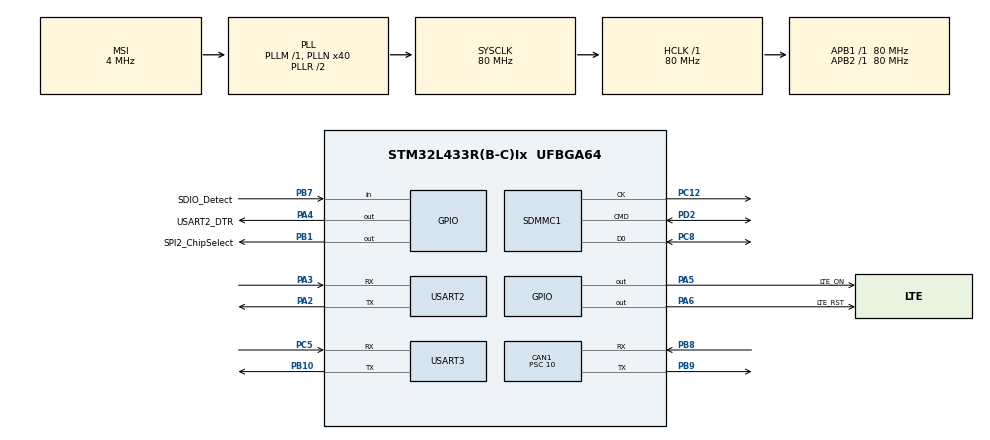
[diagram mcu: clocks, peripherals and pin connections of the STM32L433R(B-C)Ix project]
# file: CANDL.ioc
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CAN1.BS1=CAN_BS1_13TQ
CAN1.BS2=CAN_BS2_2TQ
CAN1.CalculateTimeQuantum=125.0
CAN1.Prescaler=10
FATFS.BSP.number=1
FATFS._USE_MUTEX=1
FATFS0.BSP.STBoard=false
FATFS0.BSP.api=Unknown
FATFS0.BSP.i2caddr=0
FATFS0.BSP.instance=PB7
FATFS0.BSP.ip=GPIO
FATFS0.BSP.mode=Input
FATFS0.BSP.name=Detect_SDIO
FATFS0.BSP.solution=PB7
FREERTOS.Tasks01=init,0,128,StartInit,Default,NULL,Dynamic,NULL,NULL;dataCollect,-3,128,StartDataCollection,Default,NULL,Dynamic,NULL,NULL;internetService,-3,128,StartInternetServices,Default,NULL,Dynamic,NULL,NULL
Mcu.Family=STM32L4
Mcu.Name=STM32L433R(B-C)Ix
Mcu.Package=UFBGA64
NVIC.CAN1_RX0_IRQn=true\:0\:0\:false\:false\:true\:false\:true\:true
NVIC.CAN1_RX1_IRQn=true\:0\:0\:false\:false\:true\:false\:true\:true
NVIC.CAN1_SCE_IRQn=true\:0\:0\:false\:false\:true\:false\:true\:true
NVIC.CAN1_TX_IRQn=true\:0\:0\:false\:false\:true\:false\:true\:true
NVIC.PriorityGroup=NVIC_PRIORITYGROUP_4
NVIC.TIM1_UP_TIM16_IRQn=true\:0\:0\:false\:false\:true\:false\:false\:true
NVIC.TimeBase=TIM1_UP_TIM16_IRQn
NVIC.TimeBaseIP=TIM1
NVIC.USART2_IRQn=true\:0\:0\:false\:false\:true\:false\:true\:true
NVIC.USART3_IRQn=true\:0\:0\:false\:false\:true\:false\:true\:true
PA13\ (JTMS-SWDIO).Mode=JTAG_5_pins
PA13\ (JTMS-SWDIO).Signal=SYS_JTMS-SWDIO
PA14\ (JTCK-SWCLK).Mode=JTAG_5_pins
PA14\ (JTCK-SWCLK).Signal=SYS_JTCK-SWCLK
PA15\ (JTDI).Mode=JTAG_5_pins
PA15\ (JTDI).Signal=SYS_JTDI
PA2.Mode=Asynchronous
PA2.Signal=USART2_TX
PA3.Mode=Asynchronous
PA3.Signal=USART2_RX
PA4.GPIO_Label=USART2_DTR
PA4.Signal=GPIO_Output
PA5.GPIO_Label=LTE_ON
PA5.GPIO_PuPd=GPIO_PULLDOWN
PA5.Signal=GPIO_Output
PA6.GPIO_Label=LTE_RST
PA6.GPIO_PuPd=GPIO_PULLUP
PA6.Signal=GPIO_Output
PB1.GPIO_Label=SPI2_ChipSelect
PB1.Signal=GPIO_Output
PB10.Mode=Asynchronous
PB10.Signal=USART3_TX
PB3\ (JTDO-TRACESWO).Mode=JTAG_5_pins
PB3\ (JTDO-TRACESWO).Signal=SYS_JTDO-SWO
PB4\ (NJTRST).Mode=JTAG_5_pins
PB4\ (NJTRST).Signal=SYS_JTRST
PB7.GPIO_Label=SDIO_Detect
PB7.GPIO_PuPd=GPIO_PULLUP
PB7.Signal=GPIO_Input
PB8.Mode=Master
PB8.Signal=CAN1_RX
PB9.Mode=Master
PB9.Signal=CAN1_TX
PC12.Mode=SD_1_bit
PC12.Signal=SDMMC1_CK
PC5.Mode=Asynchronous
PC5.Signal=USART3_RX
PC8.Mode=SD_1_bit
PC8.Signal=SDMMC1_D0
PD2.Mode=SD_1_bit
PD2.Signal=SDMMC1_CMD
ProjectManager.HeapSize=0x200
ProjectManager.StackSize=0x400
ProjectManager.TargetToolchain=MDK-ARM V5.27
RCC.ADCFreq_Value=48000000
RCC.AHBFreq_Value=80000000
RCC.APB1Freq_Value=80000000
RCC.APB1TimFreq_Value=80000000
RCC.APB2Freq_Value=80000000
RCC.APB2TimFreq_Value=80000000
RCC.CortexFreq_Value=80000000
RCC.HCLKFreq_Value=80000000
RCC.HSE_VALUE=8000000
RCC.HSI48_VALUE=48000000
RCC.HSI_VALUE=16000000
RCC.LSE_VALUE=32768
RCC.MSI_VALUE=4000000
RCC.PLLN=40
RCC.PLLSAI1N=24
RCC.SYSCLKFreq_VALUE=80000000
RCC.SYSCLKSource=RCC_SYSCLKSOURCE_PLLCLK
RCC.USBFreq_Value=48000000
RCC.VCOOutputFreq_Value=160000000
USART2.VirtualMode-Asynchronous=VM_ASYNC
USART3.VirtualMode-Asynchronous=VM_ASYNC
VP_FATFS_VS_SDIO.Mode=SDIO
VP_FREERTOS_VS_CMSIS_V1.Mode=CMSIS_V1
VP_RTC_VS_RTC_Activate.Mode=RTC_Enabled
VP_RTC_VS_RTC_Calendar.Mode=RTC_Calendar
VP_SYS_VS_tim1.Mode=TIM1
board=custom

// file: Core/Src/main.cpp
/* USER CODE BEGIN Header */
/**
  ******************************************************************************
  * @file           : main.c
  * @brief          : Main program body
  ******************************************************************************
  * @attention
  *
  * <h2><center>&copy; Copyright (c) 2020 STMicroelectronics.
  * All rights reserved.</center></h2>
  *
  * This software component is licensed by ST under Ultimate Liberty license
  * SLA0044, the "License"; You may not use this file except in compliance with
  * the License. You may obtain a copy of the License at:
  *                             www.st.com/SLA0044
  *
  ******************************************************************************
  */
/* USER CODE END Header */
#include "main.h"
#include "cmsis_os.h"
#include "fatfs.h"

/* USER CODE BEGIN Includes */
#include "dataCollect.h"
#include "internetConnect.h"
/* USER CODE END Includes */

CAN_HandleTypeDef hcan1;

RTC_HandleTypeDef hrtc;

SD_HandleTypeDef hsd1;

UART_HandleTypeDef huart2;
UART_HandleTypeDef huart3;

osThreadId initHandle;
osThreadId dataCollectHandle;
osThreadId internetServiceHandle;

/* USER CODE BEGIN PV */
FATFS SDFatFs; // File system object for SD card logical drive
FIL MyFile; // File object
//CAN_TxHeaderTypeDef pHeader; //declare a specific header for message transmittions
//CAN_RxHeaderTypeDef pRxHeader; //declare header for message reception
//uint32_t TxMailbox;
//uint8_t a,r; //declare byte to be transmitted //declare a receive byte
//CAN_FilterTypeDef sFilterConfig; //declare CAN filter structure
/* USER CODE END PV */

void SystemClock_Config(void);
static void MX_GPIO_Init(void);
static void MX_CAN1_Init(void);
static void MX_SDMMC1_SD_Init(void);
static void MX_USART2_UART_Init(void);
static void MX_RTC_Init(void);
static void MX_USART3_UART_Init(void);
void StartInit(void const * argument);
void StartDataCollection(void const * argument);
void StartInternetServices(void const * argument);

int main(void)
{
  /* USER CODE BEGIN 1 */
 FRESULT res; // FatFs function common result code
 uint32_t byteswritten, bytesread; // File write/read counts
 char rtext[256]; // File read buffer
  /* USER CODE END 1 */

  /* MCU Configuration--------------------------------------------------------*/

  /* Reset of all peripherals, Initializes the Flash interface and the Systick. */
  HAL_Init();

  /* Configure the system clock */
  SystemClock_Config();

  /* Initialize all configured peripherals */
  MX_GPIO_Init();
  MX_CAN1_Init();
  MX_SDMMC1_SD_Init();
  MX_FATFS_Init();
  MX_USART2_UART_Init();
  MX_RTC_Init();
  MX_USART3_UART_Init();
  /* USER CODE BEGIN 2 */
//	pHeader.DLC=1; //give message size of 1 byte
//	pHeader.IDE=CAN_ID_STD; //set identifier to standard
//	pHeader.RTR=CAN_RTR_DATA; //set data type to remote transmission request?
//	pHeader.StdId=0x244; //define a standard identifier, used for message identification by filters
//
//	//filter one (stack light blink)
//	sFilterConfig.FilterFIFOAssignment=CAN_FILTER_FIFO0; //set fifo assignment
//	sFilterConfig.FilterIdHigh=0; //the ID that the filter looks for
//	sFilterConfig.FilterIdLow=0;
//	sFilterConfig.FilterMaskIdHigh=0;
//	sFilterConfig.FilterMaskIdLow=0;
//	sFilterConfig.FilterScale=CAN_FILTERSCALE_32BIT; //set filter scale
//	sFilterConfig.FilterActivation=ENABLE;
//
//	HAL_CAN_ConfigFilter(&hcan1, &sFilterConfig); //configure CAN filter

//
//	HAL_CAN_Start(&hcan1); //start CAN
//	HAL_CAN_ActivateNotification(&hcan1, CAN_IT_RX_FIFO0_MSG_PENDING); //enable interrupts

 	//if(f_mount(&SDFatFs, (TCHAR const*)SD_Path, 0) != FR_OK){
	//	while(1);
 	//}
	//else {
	//// Create a FAT file system (format) on the logical drive
 	//// WARNING: Formatting the uSD card will delete all content on the device
	//	if(f_mkfs((TCHAR const*)SD_Path, 0, 0) != FR_OK){
	// while(1);
 	//}
	//else {
	//// Create & Open a new text file object with write access
 	//if(f_open(&MyFile, "CANDL.txt", FA_CREATE_ALWAYS | FA_WRITE) != FR_OK){
 	///* 'CANDL.txt' file Open for write Error : set the red LED on */
 	//HAL_GPIO_WritePin(GPIOG, GPIO_PIN_10, GPIO_PIN_RESET);
 	//while(1);
 	//}
	//else {
 	//// Write data to the text file
 	//res = f_write(&MyFile, wtext, sizeof(wtext), (void*)&byteswritten);
 	//if((byteswritten == 0) || (res != FR_OK)){
 	//// 'CANDL.txt' file Write or EOF Error : set the red LED on
 	//HAL_GPIO_WritePin(GPIOG, GPIO_PIN_10, GPIO_PIN_RESET);
 	//while(1);
 	//}
	//else {
 	//// Successful open/write : set the blue LED on
 	//HAL_GPIO_WritePin(GPIOG, GPIO_PIN_12, GPIO_PIN_RESET);
	//f_close(&MyFile);
 	//// Open the text file object with read access
 	//if(f_open(&MyFile, "CANDL.txt", FA_READ) != FR_OK){
 	//// 'CANDL.txt' file Open for read Error : set the red LED on
 	//HAL_GPIO_WritePin(GPIOG, GPIO_PIN_10, GPIO_PIN_RESET);
 	//while(1);
 	//}
	//else {
 	//// Read data from the text file
 	//res = f_read(&MyFile, rtext, sizeof(wtext), &bytesread);
	//	if((strcmp(rtext,wtext)!=0)|| (res != FR_OK)){
 	//// 'CANDL.txt' file Read or EOF Error : set the red LED on
 	//HAL_GPIO_WritePin(GPIOG, GPIO_PIN_10, GPIO_PIN_RESET);
 	//while(1);
 	//}
	//else {
 	//// Successful read : set the green LED On
 	//HAL_GPIO_WritePin(GPIOG, GPIO_PIN_6, GPIO_PIN_RESET);
 	//// Close the open text file
 	//f_close(&MyFile);
	//
	//	}
	//}
	//}
	//}
	//}
	//}
//}
 	// Unlink the micro SD disk I/O driver
 	//FATFS_UnLinkDriver(SD_Path);
  /* USER CODE END 2 */

  /* Create the thread(s) */
  /* definition and creation of init */
  osThreadDef(init, StartInit, osPriorityNormal, 0, 128);
  initHandle = osThreadCreate(osThread(init), NULL);

  /* definition and creation of dataCollect */
  osThreadDef(dataCollect, StartDataCollection, osPriorityIdle, 0, 128);
  dataCollectHandle = osThreadCreate(osThread(dataCollect), NULL);

  /* definition and creation of internetService */
  osThreadDef(internetService, StartInternetServices, osPriorityIdle, 0, 128);
  internetServiceHandle = osThreadCreate(osThread(internetService), NULL);

  /* Start scheduler */
  osKernelStart();

  /* We should never get here as control is now taken by the scheduler */
  /* Infinite loop */
  while (1)
  {

  }
}

void SystemClock_Config(void)
{
  RCC_OscInitTypeDef RCC_OscInitStruct = {0};
  RCC_ClkInitTypeDef RCC_ClkInitStruct = {0};
  RCC_PeriphCLKInitTypeDef PeriphClkInit = {0};

  /** Initializes the RCC Oscillators according to the specified parameters
  * in the RCC_OscInitTypeDef structure.
  */
  RCC_OscInitStruct.OscillatorType = RCC_OSCILLATORTYPE_LSI|RCC_OSCILLATORTYPE_MSI;
  RCC_OscInitStruct.LSIState = RCC_LSI_ON;
  RCC_OscInitStruct.MSIState = RCC_MSI_ON;
  RCC_OscInitStruct.MSICalibrationValue = 0;
  RCC_OscInitStruct.MSIClockRange = RCC_MSIRANGE_6;
  RCC_OscInitStruct.PLL.PLLState = RCC_PLL_ON;
  RCC_OscInitStruct.PLL.PLLSource = RCC_PLLSOURCE_MSI;
  RCC_OscInitStruct.PLL.PLLM = 1;
  RCC_OscInitStruct.PLL.PLLN = 40;
  RCC_OscInitStruct.PLL.PLLP = RCC_PLLP_DIV7;
  RCC_OscInitStruct.PLL.PLLQ = RCC_PLLQ_DIV2;
  RCC_OscInitStruct.PLL.PLLR = RCC_PLLR_DIV2;
  if (HAL_RCC_OscConfig(&RCC_OscInitStruct) != HAL_OK)
  {
    Error_Handler();
  }
  /** Initializes the CPU, AHB and APB buses clocks
  */
  RCC_ClkInitStruct.ClockType = RCC_CLOCKTYPE_HCLK|RCC_CLOCKTYPE_SYSCLK
                              |RCC_CLOCKTYPE_PCLK1|RCC_CLOCKTYPE_PCLK2;
  RCC_ClkInitStruct.SYSCLKSource = RCC_SYSCLKSOURCE_PLLCLK;
  RCC_ClkInitStruct.AHBCLKDivider = RCC_SYSCLK_DIV1;
  RCC_ClkInitStruct.APB1CLKDivider = RCC_HCLK_DIV1;
  RCC_ClkInitStruct.APB2CLKDivider = RCC_HCLK_DIV1;

  if (HAL_RCC_ClockConfig(&RCC_ClkInitStruct, FLASH_LATENCY_4) != HAL_OK)
  {
    Error_Handler();
  }
  PeriphClkInit.PeriphClockSelection = RCC_PERIPHCLK_RTC|RCC_PERIPHCLK_USART2
                              |RCC_PERIPHCLK_USART3|RCC_PERIPHCLK_SDMMC1;
  PeriphClkInit.Usart2ClockSelection = RCC_USART2CLKSOURCE_PCLK1;
  PeriphClkInit.Usart3ClockSelection = RCC_USART3CLKSOURCE_PCLK1;
  PeriphClkInit.RTCClockSelection = RCC_RTCCLKSOURCE_LSI;
  PeriphClkInit.Sdmmc1ClockSelection = RCC_SDMMC1CLKSOURCE_PLLSAI1;
  PeriphClkInit.PLLSAI1.PLLSAI1Source = RCC_PLLSOURCE_MSI;
  PeriphClkInit.PLLSAI1.PLLSAI1M = 1;
  PeriphClkInit.PLLSAI1.PLLSAI1N = 24;
  PeriphClkInit.PLLSAI1.PLLSAI1P = RCC_PLLP_DIV7;
  PeriphClkInit.PLLSAI1.PLLSAI1Q = RCC_PLLQ_DIV2;
  PeriphClkInit.PLLSAI1.PLLSAI1R = RCC_PLLR_DIV2;
  PeriphClkInit.PLLSAI1.PLLSAI1ClockOut = RCC_PLLSAI1_48M2CLK;
  if (HAL_RCCEx_PeriphCLKConfig(&PeriphClkInit) != HAL_OK)
  {
    Error_Handler();
  }
  /** Configure the main internal regulator output voltage
  */
  if (HAL_PWREx_ControlVoltageScaling(PWR_REGULATOR_VOLTAGE_SCALE1) != HAL_OK)
  {
    Error_Handler();
  }
}

static void MX_CAN1_Init(void)
{

  hcan1.Instance = CAN1;
  hcan1.Init.Prescaler = 10;
  hcan1.Init.Mode = CAN_MODE_NORMAL;
  hcan1.Init.SyncJumpWidth = CAN_SJW_1TQ;
  hcan1.Init.TimeSeg1 = CAN_BS1_13TQ;
  hcan1.Init.TimeSeg2 = CAN_BS2_2TQ;
  hcan1.Init.TimeTriggeredMode = DISABLE;
  hcan1.Init.AutoBusOff = DISABLE;
  hcan1.Init.AutoWakeUp = DISABLE;
  hcan1.Init.AutoRetransmission = DISABLE;
  hcan1.Init.ReceiveFifoLocked = DISABLE;
  hcan1.Init.TransmitFifoPriority = DISABLE;
  if (HAL_CAN_Init(&hcan1) != HAL_OK)
  {
    Error_Handler();
  }
  /* USER CODE BEGIN CAN1_Init 2 */
/*CAN_FilterTypeDef sf;
sf.FilterBank = 0;
sf.FilterMode = CAN_FILTERMODE_IDMASK;
sf.FilterScale = CAN_FILTERSCALE_16BIT;
sf.FilterIdLow = 0xffff;
sf.FilterIdHigh = 0x1fff;
sf.FilterMaskIdLow = 0x0000;
sf.FilterMaskIdHigh = 0x0000;
sf.FilterFIFOAssignment = CAN_RX_FIFO0;
sf.SlaveStartFilterBank = 0;
sf.FilterActivation = ENABLE;
if (HAL_CAN_ConfigFilter(&hcan, &sf) != HAL_OK) {
    Error_Handler();
}
if (HAL_CAN_Start(&hcan) != HAL_OK) {
    Error_Handler();
}

if (HAL_CAN_ActivateNotification(&hcan, CAN_IT_RX_FIFO0_MSG_PENDING) != HAL_OK) {
    Error_Handler();
}*/
  /* USER CODE END CAN1_Init 2 */

}

static void MX_RTC_Init(void)
{

  RTC_TimeTypeDef sTime = {0};
  RTC_DateTypeDef sDate = {0};

  /** Initialize RTC Only
  */
  hrtc.Instance = RTC;
  hrtc.Init.HourFormat = RTC_HOURFORMAT_24;
  hrtc.Init.AsynchPrediv = 127;
  hrtc.Init.SynchPrediv = 255;
  hrtc.Init.OutPut = RTC_OUTPUT_DISABLE;
  hrtc.Init.OutPutRemap = RTC_OUTPUT_REMAP_NONE;
  hrtc.Init.OutPutPolarity = RTC_OUTPUT_POLARITY_HIGH;
  hrtc.Init.OutPutType = RTC_OUTPUT_TYPE_OPENDRAIN;
  if (HAL_RTC_Init(&hrtc) != HAL_OK)
  {
    Error_Handler();
  }

  /** Initialize RTC and set the Time and Date
  */
  sTime.Hours = 0x0;
  sTime.Minutes = 0x0;
  sTime.Seconds = 0x0;
  sTime.DayLightSaving = RTC_DAYLIGHTSAVING_NONE;
  sTime.StoreOperation = RTC_STOREOPERATION_RESET;
  if (HAL_RTC_SetTime(&hrtc, &sTime, RTC_FORMAT_BCD) != HAL_OK)
  {
    Error_Handler();
  }
  sDate.WeekDay = RTC_WEEKDAY_MONDAY;
  sDate.Month = RTC_MONTH_JANUARY;
  sDate.Date = 0x1;
  sDate.Year = 0x0;

  if (HAL_RTC_SetDate(&hrtc, &sDate, RTC_FORMAT_BCD) != HAL_OK)
  {
    Error_Handler();
  }

}

static void MX_SDMMC1_SD_Init(void)
{

  hsd1.Instance = SDMMC1;
  hsd1.Init.ClockEdge = SDMMC_CLOCK_EDGE_RISING;
  hsd1.Init.ClockBypass = SDMMC_CLOCK_BYPASS_DISABLE;
  hsd1.Init.ClockPowerSave = SDMMC_CLOCK_POWER_SAVE_DISABLE;
  hsd1.Init.BusWide = SDMMC_BUS_WIDE_1B;
  hsd1.Init.HardwareFlowControl = SDMMC_HARDWARE_FLOW_CONTROL_DISABLE;
  hsd1.Init.ClockDiv = 0;

}

static void MX_USART2_UART_Init(void)
{

  huart2.Instance = USART2;
  huart2.Init.BaudRate = 115200;
  huart2.Init.WordLength = UART_WORDLENGTH_8B;
  huart2.Init.StopBits = UART_STOPBITS_1;
  huart2.Init.Parity = UART_PARITY_NONE;
  huart2.Init.Mode = UART_MODE_TX_RX;
  huart2.Init.HwFlowCtl = UART_HWCONTROL_NONE;
  huart2.Init.OverSampling = UART_OVERSAMPLING_16;
  huart2.Init.OneBitSampling = UART_ONE_BIT_SAMPLE_DISABLE;
  huart2.AdvancedInit.AdvFeatureInit = UART_ADVFEATURE_NO_INIT;
  if (HAL_UART_Init(&huart2) != HAL_OK)
  {
    Error_Handler();
  }

}

static void MX_USART3_UART_Init(void)
{

  huart3.Instance = USART3;
  huart3.Init.BaudRate = 115200;
  huart3.Init.WordLength = UART_WORDLENGTH_8B;
  huart3.Init.StopBits = UART_STOPBITS_1;
  huart3.Init.Parity = UART_PARITY_NONE;
  huart3.Init.Mode = UART_MODE_TX_RX;
  huart3.Init.HwFlowCtl = UART_HWCONTROL_NONE;
  huart3.Init.OverSampling = UART_OVERSAMPLING_16;
  huart3.Init.OneBitSampling = UART_ONE_BIT_SAMPLE_DISABLE;
  huart3.AdvancedInit.AdvFeatureInit = UART_ADVFEATURE_NO_INIT;
  if (HAL_UART_Init(&huart3) != HAL_OK)
  {
    Error_Handler();
  }

}

static void MX_GPIO_Init(void)
{
  GPIO_InitTypeDef GPIO_InitStruct = {0};

  /* GPIO Ports Clock Enable */
  __HAL_RCC_GPIOB_CLK_ENABLE();
  __HAL_RCC_GPIOA_CLK_ENABLE();
  __HAL_RCC_GPIOD_CLK_ENABLE();
  __HAL_RCC_GPIOC_CLK_ENABLE();

  /*Configure GPIO pin Output Level */
  HAL_GPIO_WritePin(GPIOA, LTE_ON_Pin|LTE_RST_Pin|USART2_DTR_Pin, GPIO_PIN_RESET);

  /*Configure GPIO pin Output Level */
  HAL_GPIO_WritePin(SPI2_ChipSelect_GPIO_Port, SPI2_ChipSelect_Pin, GPIO_PIN_RESET);

  /*Configure GPIO pin : SDIO_Detect_Pin */
  GPIO_InitStruct.Pin = SDIO_Detect_Pin;
  GPIO_InitStruct.Mode = GPIO_MODE_INPUT;
  GPIO_InitStruct.Pull = GPIO_PULLUP;
  HAL_GPIO_Init(SDIO_Detect_GPIO_Port, &GPIO_InitStruct);

  /*Configure GPIO pin : LTE_ON_Pin */
  GPIO_InitStruct.Pin = LTE_ON_Pin;
  GPIO_InitStruct.Mode = GPIO_MODE_OUTPUT_PP;
  GPIO_InitStruct.Pull = GPIO_PULLDOWN;
  GPIO_InitStruct.Speed = GPIO_SPEED_FREQ_LOW;
  HAL_GPIO_Init(LTE_ON_GPIO_Port, &GPIO_InitStruct);

  /*Configure GPIO pin : LTE_RST_Pin */
  GPIO_InitStruct.Pin = LTE_RST_Pin;
  GPIO_InitStruct.Mode = GPIO_MODE_OUTPUT_PP;
  GPIO_InitStruct.Pull = GPIO_PULLUP;
  GPIO_InitStruct.Speed = GPIO_SPEED_FREQ_LOW;
  HAL_GPIO_Init(LTE_RST_GPIO_Port, &GPIO_InitStruct);

  /*Configure GPIO pin : SPI2_ChipSelect_Pin */
  GPIO_InitStruct.Pin = SPI2_ChipSelect_Pin;
  GPIO_InitStruct.Mode = GPIO_MODE_OUTPUT_PP;
  GPIO_InitStruct.Pull = GPIO_NOPULL;
  GPIO_InitStruct.Speed = GPIO_SPEED_FREQ_LOW;
  HAL_GPIO_Init(SPI2_ChipSelect_GPIO_Port, &GPIO_InitStruct);

  /*Configure GPIO pin : USART2_DTR_Pin */
  GPIO_InitStruct.Pin = USART2_DTR_Pin;
  GPIO_InitStruct.Mode = GPIO_MODE_OUTPUT_PP;
  GPIO_InitStruct.Pull = GPIO_NOPULL;
  GPIO_InitStruct.Speed = GPIO_SPEED_FREQ_LOW;
  HAL_GPIO_Init(USART2_DTR_GPIO_Port, &GPIO_InitStruct);

}

/* USER CODE BEGIN 4 */
//overwrite interrupt callback

void HAL_CAN_RxFifo0MsgPendingCallback(CAN_HandleTypeDef *hcan) {
    if (hcan->Instance == hcan1.Instance)
	{
		uint8_t buf[8];
		CAN_RxHeaderTypeDef pRxHeader;
		if (HAL_CAN_GetRxMessage(hcan, CAN_RX_FIFO0, &pRxHeader, buf)			// Get the received data header and data
				== HAL_OK)
		{
			HAL_CAN_ActivateNotification(hcan, CAN_IT_RX_FIFO0_MSG_PENDING);	// Enable FIFO0 receive interrupt again
		}
	}
}
/* USER CODE END 4 */

void StartInit(void const * argument)
{
  for(;;)
  {
    osDelay(1);
  }
}

void StartDataCollection(void const * argument)
{
  /* USER CODE BEGIN StartDataCollection */
	storeData();
  /* Infinite loop */
  for(;;)
  {
    osDelay(1);
  }
  /* USER CODE END StartDataCollection */
}

void StartInternetServices(void const * argument)
{
  /* USER CODE BEGIN StartInternetServices */
	internetConnect();
  /* Infinite loop */
  for(;;)
  {
    osDelay(1);
  }
  /* USER CODE END StartInternetServices */
}

void HAL_TIM_PeriodElapsedCallback(TIM_HandleTypeDef *htim)
{
  if (htim->Instance == TIM1) {
    HAL_IncTick();
  }
}

void Error_Handler(void)
{
}

/************************ (C) COPYRIGHT STMicroelectronics *****END OF FILE****/
